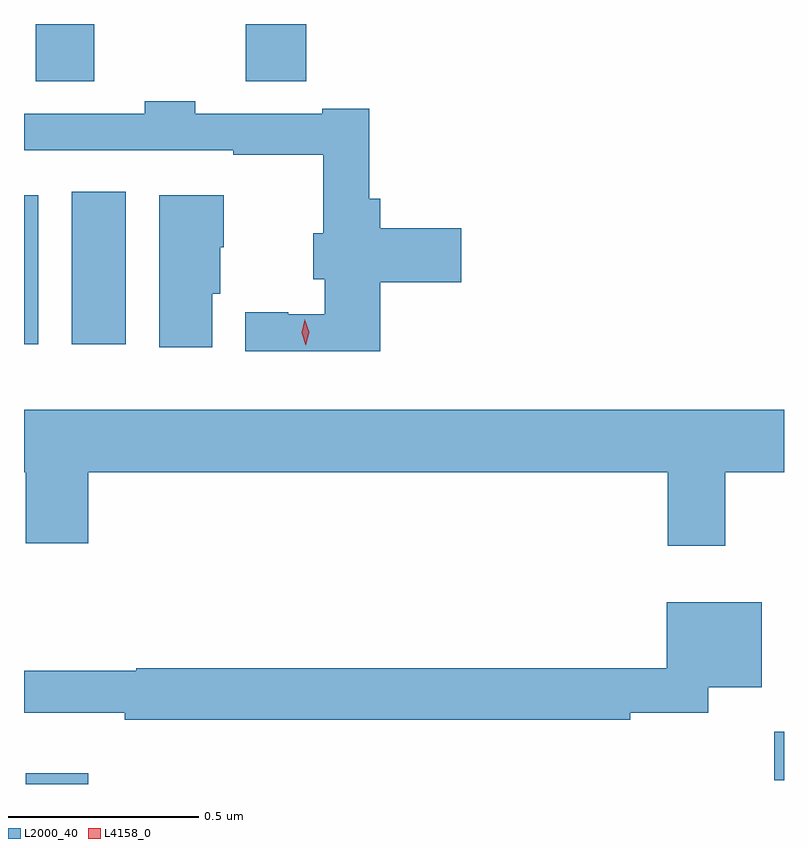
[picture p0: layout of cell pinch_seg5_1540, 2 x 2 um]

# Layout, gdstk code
import gdstk
lib = gdstk.Library(unit=1e-6, precision=1e-09)
def R(c, l, rs):  # rectangles x0, y0, x1, y1
    for r in rs: c.add(gdstk.rectangle(r[:2], r[2:], *l))
def P(c, l, *ps):  # polygons
    for p in ps: c.add(gdstk.Polygon(p, *l))
L2000_40 = (2000, 40)
L4158_0 = (4158, 0)

pinch_seg5_1540 = lib.new_cell('pinch_seg5_1540')
R(pinch_seg5_1540, L2000_40, [(212.96,877.251,213.124,877.279), (214.929,877.261,214.955,877.389), (212.955,878.408,212.992,878.8), (213.08,878.408,213.223,878.809), (212.986,879.1,213.14,879.251), (213.538,879.1,213.698,879.251)])
P(pinch_seg5_1540, L2000_40, [(213.893,878.572),(214.105,878.572),(214.105,878.714),(213.893,878.714),(213.893,878.791),(213.863,878.791),(213.863,879.028),(213.74,879.028),(213.74,879.015),(213.405,879.015),(213.405,879.048),(213.273,879.048),(213.273,879.015),(212.955,879.015),(212.955,878.919),(213.505,878.919),(213.505,878.907),(213.742,878.907),(213.742,878.701),(213.716,878.701),(213.716,878.579),(213.746,878.579),(213.746,878.487),(213.65,878.487),(213.65,878.492),(213.537,878.492),(213.537,878.39),(213.893,878.39)],
  [(213.451,878.541),(213.472,878.541),(213.472,878.664),(213.481,878.664),(213.481,878.8),(213.311,878.8),(213.311,878.4),(213.451,878.4)],
  [(214.801,878.072),(214.955,878.072),(214.955,878.236),(212.955,878.236),(212.955,878.072),(212.96,878.072),(212.96,877.884),(213.124,877.884),(213.124,878.072),(214.649,878.072),(214.649,877.878),(214.801,877.878)],
  [(214.55,877.438),(214.756,877.438),(214.756,877.505),(214.897,877.505),(214.897,877.729),(214.646,877.729),(214.646,877.556),(213.25,877.556),(213.25,877.549),(212.955,877.549),(212.955,877.439),(213.22,877.439),(213.22,877.42),(214.55,877.42)])
P(pinch_seg5_1540, L4158_0, [(213.697,878.405),(213.697,878.405),(213.686,878.439),(213.694,878.473),(213.694,878.474),(213.694,878.473),(213.705,878.44),(213.697,878.405)])

lib.write_gds('pinch_seg5_1540.gds')
